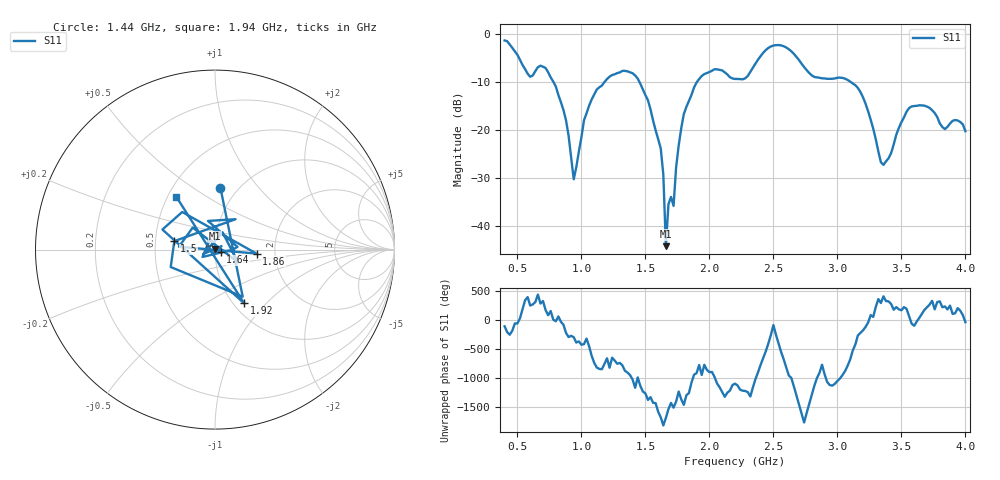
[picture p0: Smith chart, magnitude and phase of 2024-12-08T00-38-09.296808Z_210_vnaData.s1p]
!Created with skrf (http://scikit-rf.org).
# Hz S RI R 50.0
!freq ReS11 ImS11
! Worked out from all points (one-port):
!   181 points, 400 MHz to 4 GHz, reference 50 ohm
!   lowest |S11| = -44.1 dB at 1.66 GHz (marker M1), VSWR 1.01, Z = 49.8 + j0.598 ohm
!   |S11| at or under -10 dB: 781.9 MHz to 1.18 GHz (398 MHz wide, 40.6 % of centre); 1.454 GHz to 1.902 GHz (448.3 MHz wide, 26.7 % of centre); 3.105 GHz to end of sweep
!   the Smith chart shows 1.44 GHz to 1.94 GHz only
!   S11 on the Smith chart (normalised r, x): 1.44 GHz: 0.83, +0.65; 1.5 GHz: 0.63, +0.06; 1.64 GHz: 1.06, -0.03; 1.86 GHz: 1.60, -0.08; 1.92 GHz: 1.12, -0.76; 1.94 GHz: 0.55, +0.38
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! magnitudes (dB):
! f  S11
! 400 MHz  -1.4
! 600 MHz  -8.9
! 720 MHz  -7.1
! 860 MHz  -15.8
! 940 MHz  -30.2
! 1.02 GHz  -18.0
! 1.08 GHz  -13.6
! 1.3 GHz  -8.0
! 1.44 GHz  -9.3
! 1.5 GHz  -12.7
! 1.62 GHz  -23.8
! 1.64 GHz  -29.2
! 1.66 GHz  -44.1
! 1.68 GHz  -35.4
! 1.72 GHz  -35.7
! 1.76 GHz  -23.2
! 1.86 GHz  -12.7
! 1.92 GHz  -9.4
! 1.94 GHz  -8.7
! 2.2 GHz  -9.4
! 2.48 GHz  -2.6
! 2.66 GHz  -4.1
! 2.82 GHz  -8.9
! 3.1 GHz  -9.9
! 3.2 GHz  -13.2
! 3.36 GHz  -27.2
! 3.56 GHz  -15.4
! 4 GHz  -20.2
